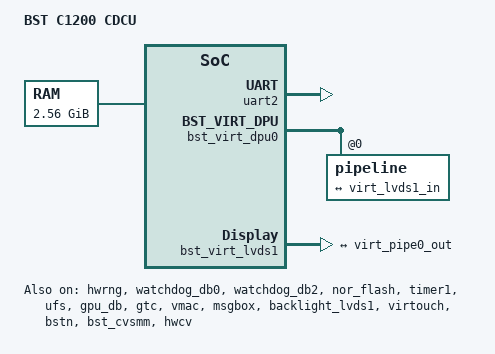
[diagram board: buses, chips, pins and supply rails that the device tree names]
// SPDX-License-Identifier: GPL-2.0+
/dts-v1/;
#include <generated/autoconf.h>
#include <dt-bindings/mailbox/bst_msgbox.h>
#include <dt-bindings/media/bst-isp.h>

#include "bstc1200.dtsi"
#include "bstc1200-db-cluster.dtsi"

/ {
	compatible = "bst,c1200";
	model = "BST C1200 CDCU";

	chosen {
		bootargs = "earlycon=uart8250,mmio32,0x20027000 console=ttyS0,115200n8 rdinit=/sbin/init root=/dev/ram rw init=/linuxrc rodata=n";
		stdout-path = "uart0";
	};

// OS 1GB
	memory@880000000 {
		device_type = "memory";
		reg = <0x8 0x03400000 0x0 0x01000000
			   0x8 0x0e000000 0x0 0x1000000
			   0x8 0x21000000 0x0 0x16000000
			   0x8 0x37000000 0x0 0x49000000
			   0x8 0x80000000 0x0 0x40000000
			   0xc 0x50000000 0x0 0x03000000
			   0x8 0x06480000 0x0 0x00080000
		>;
	};

	reserved-memory {
		#address-cells = <2>;
		#size-cells = <2>;
		ranges;

		bst_ufs_reserved: bst_ufs@800000000 {
			compatible = "shared-dma-pool";
			reg = <0x8 0x0 0x0 0x20000>;
			no-map;
		};

		bst_nor_flash_code_reserved: bst_nor_flash@800120000 {
			compatible = "shared-dma-pool";
			reg = <0x8 0x120000 0x0 0x10000>;
			no-map;
		};
		
			
		bst_ipc_reserved: bst_ipc@800300000 {
			compatible = "shared-dma-pool";
			reg = <0x8 0x300000 0x0 0x400000>;
			no-map;
		};


		scmi_buf_reserved: scmi_buf@800150000 {
			compatible = "shared-dma-pool";
			reg = <0x8 0x150000 0x0 0x1000>;
			no-map;
		};

		bst_datashare_reserved: bst_datashare@804400000 {
			compatible = "shared-dma-pool";
			reg = <0x8 0x4400000 0x0 0x500000>;
			no-map;
		};

		bst_touchscreen_reserved: bst_touchscreen@806710000 {
			compatible = "shared-dma-pool";
			reg = <0x8 0x06710000 0x0 0x40000>; //256k
			no-map;
		};

		bst_vmac_reserved: bst_vmac_des@806b10000 {
			compatible = "shared-dma-pool";
			reg = <0x8 0x0d500000 0x0 0xA00000>;
			no-map;
		};

		/* Reserved for exchange message between driver and firmware */
		isp_fw_msg_rsv: bst_isp_msg@821000000 {
			reg = <0x8 0x21000000 0x0 0x1000000>;
			/* Reserved IOVA for fixed map */
			iommu-addresses = <&isp 0x0 0x3E000000 0x0 0x42000000>;
			no-map;
		};

		/* Reserved exclusively for firmware */
		isp_fw_buf_rsv: bst_isp_buf@822000000 {
			reg = <0x8 0x22000000 0x0 0x15000000>;
			no-map;
		};

		bst_minidump_reserved: bst_minidump@8b5000000 {
			compatible = "bst,minidump";
			reg = <0x8 0xb5000000 0x0 0xA00000>;
			no-map;
		};

		bst_mrdump_cb_reserved: bst_mrdump@8b5a00000 {
			compatible = "bst,mrdump_cb";
			reg = <0x8 0xb5a00000 0x0 0x200000>;
			no-map;
		};

		/*reserved for global secure dmabuf */
		global_dmabuf_secure_reserved: global_secure_dmabuf@850000000 {
			compatible = "shared-dma-pool";
			reg = <0x8 0x50000000 0x0 0x03000000
                   0xc 0x50000000 0x0 0x03000000
			>;
			no-map;
		};
		/*reserved for global normal dmabuf */
		global_dmabuf_normal_reserved: global_normal_dmabuf@837000000 {
			compatible = "shared-dma-pool";
			reg = <0x8 0x53000000 0x0 0x2d000000
				   0x8 0x37000000 0x0 0x19000000
				  >;
		};
		/*reserved for global hifi dmabuf */
		global_dmabuf_hifi_reserved: global_hifi_dmabuf@806480000 {
			compatible = "shared-dma-pool";
			reg = <0x8 0x06480000 0x0 0x00080000>;
			no-map;
		};

		bst_optee_reserved: bst_optee@803400000 {
			compatible = "shared-dma-pool";
			reg = <0x8 0x3400000 0x0 0x1000000>;
			no-map;
		};
		bst_usb_virt_reserved: usb_virt@80e000000 {
			reg = <0x8 0x0e000000 0x0 0x1000000>;
			no-map;
		};
		bst_dpu_buf_reserved: bst_dpu_buf@806921000 {
			compatible = "shared-dma-pool";
			reg = <0x8 0x06921000 0x0 0x1000>;
			no-map;
		};

		bst_hwrng_buf_reserved: bst_hwrng_buf@806d32000 {
			compatible = "shared-dma-pool";
			reg = <0x8 0x06d32000 0x0 0x1000>;
		};
	};

	firmware {
		optee {
			compatible = "linaro,optee-tz";
			method = "smc";
			chip-number = <2>;
		};
	};

	tee {
		#address-cells = <0x2>;
		#size-cells = <0x2>;
		reg = <0x0 0x18060000 0x0 0x1f000>;
		memory-region = <&bst_optee_reserved>;
		mbox-names = "bst-mbox";
		chip-number = <2>;
	};
};


&firmware_scmi {
	status = "okay";
	shmem = <&scmi_buf_reserved>;
	reg = <0x0 0x20011028 0 0x14>;
	
	
	 scmi_pinctrl: protocol@19 {
                        reg = <0x19>;
                        #pinctrl-cells = <0>;
			
			gpio_pinctrl:gpio_pinctrl {
        			mux {
            				pins = "WK_GPIO13";
            				function = "gpio";
        			};
    			};
			hpd_pinctrl:hpd_pinctrl {
				mux {
					pins = "EDP_HPD";
					function = "edp";
				};
			};
			lvds0_pinconfig:lvds0_pinconfig {
				config {
					pins = "LVDS0_ODD_TX0", "LVDS0_ODD_TX1", "LVDS0_ODD_TX2", "LVDS0_ODD_TX3", "LVDS0_ODD_CLKN";
					input-enable;
				};
			};
			lvds1_pinconfig:lvds1_pinconfig {
				config {
					pins = "LVDS0_EVEN_TX0", "LVDS0_EVEN_TX1", "LVDS0_EVEN_TX2", "LVDS0_EVEN_TX3", "LVDS0_EVEN_CLKN";
					input-enable;
				};
			};
			isp_pinctrl: isp_pinctrl {
				mux {
					/* ISP FSYNC 0, 1, 2, 5, 6, 7 */
					pins = "ISP_FSYNC0", "ISP_FSYNC1", "ISP_FSYNC2", "WK_GPIO33", "WK_GPIO34","WK_GPIO35";
					function = "isp";
				};
			};
			deser_pinctrl: deser_pinctrl {
				deser_pdb_pins {
					/* Deser 0 PDB, Deser 1 PDB, Deser 2 PDB */
					pins = "WK_GPIO15", "WK_GPIO20", "WK_GPIO21";
					function = "gpio";
				};
				deser_status_pins {
					/* Deser 0 LOCK, ERR, Deser 1 LOCK, ERR, Deser 2 LOCK, ERR */
					pins = "SC_SDMMC0_WP", "SC_SDMMC1_STROBE", "SC_SDMMC1_CLK", "SC_SDMMC1_CMD", "SC_SDMMC1_DAT0", "SC_SDMMC1_DAT1";
					function = "gpio";
					bias-pull-up;
					input-enable;
				};
			};
        };
};

&hwrng {
	status = "okay";
	memory-region = <&bst_hwrng_buf_reserved>;
	msgbx-pid = <0x20>;
};

&i2c0 {
	status = "disable";
};
&i2c1 {
	status = "disable";
};
&i2c2 {
	status = "disable";
};
&i2c3 {
	status = "disable";
};
&i2c4 {
	status = "disable";
};
&i2c5 {
	status = "disable";
};
&i2c6 {
	status = "disable";
};
&i2c7 {
	status = "disable";
};

&i2cq0 {
	uid = <2>;
	interrupts = <GIC_SPI 90 IRQ_TYPE_LEVEL_HIGH>;
	ipc-sem = <2 0 12>;	// Master 2, bank 0, sem 12
	role = <ROLE_SLAVE>;
};
&i2cq1 {
	uid = <2>;
	interrupts = <GIC_SPI 91 IRQ_TYPE_LEVEL_HIGH>;
	ipc-sem = <2 0 12>;	// Master 2, bank 0, sem 12
	role = <ROLE_SLAVE>;
};
&i2cq2 {
	uid = <2>;
	interrupts = <GIC_SPI 92 IRQ_TYPE_LEVEL_HIGH>;
	ipc-sem = <2 0 12>;	// Master 2, bank 0, sem 12
	role = <ROLE_SLAVE>;
};
&csi0 {
	uid = <2>;
	interrupts = <GIC_SPI 93 (IRQ_TYPE_LEVEL_HIGH)>,
		     <GIC_SPI 94 (IRQ_TYPE_LEVEL_HIGH)>;
	ipc-sem = <2 0 13>;	// Master 2, bank 0, sem 13
};
&csi1 {
	uid = <2>;
	interrupts = <GIC_SPI 95 (IRQ_TYPE_LEVEL_HIGH)>,
		     <GIC_SPI 96 (IRQ_TYPE_LEVEL_HIGH)>;
	ipc-sem = <2 0 13>;	// Master 2, bank 0, sem 13
};
&csi2 {
	uid = <2>;
	interrupts = <GIC_SPI 97 (IRQ_TYPE_LEVEL_HIGH)>,
		     <GIC_SPI 98 (IRQ_TYPE_LEVEL_HIGH)>;
	ipc-sem = <2 0 13>;	// Master 2, bank 0, sem 13
};
&isp_bus {
	dma-ranges = <0x0 0x00400000 0x8 0x8B000000 0x0 0x3DC00000>,
		     <0x0 0x3E000000 0x0 0x3E000000 0x0 0x02000000>,	// Reserved to restrict IOVA area
		     <0x0 0x40000000 0x0 0x20000000 0x0 0x07000000>,	// Outer registers area
		     <0x0 0x47000000 0x0 0x30000000 0x0 0x01000000>,	// Outer registers area
		     <0x0 0x50000000 0x0 0x50000000 0x0 0x10000000>,	// ISPCV inner registers
		     <0x0 0x60000000 0x8 0x00200000 0x0 0x00600000>,	// IPC area, see bst_ipc_reserved, 2MB aligned
		     <0x0 0x60600000 0x8 0x21000000 0x0 0x16000000>;	// For isp_fw_msg_rsv, isp_fw_buf_rsv
};
&isp {
	uid = <2>;
	msgbox-cpu = <CPUMP2_1 1 2>;
	ipc-cpu = <4>;		// DB0
	ipc-sem = <2 0 14>;	// Master 2, bank 0, sem 14
	role = <ROLE_SLAVE>;
};

&uart0 {
	status = "disable";
};
&uart1 {
	status = "disable";
};
&uart2 {
	status = "okay";
	dmas = <&gdma0 23>,<&gdma0 22>;
	dma-names = "tx", "rx";
	interrupts = <GIC_SPI 80 IRQ_TYPE_LEVEL_HIGH>;
};
&uart3 {
	status = "disable";
};

&spi0 {
	status = "disable";
};
&spi1 {
	status = "disable";
};
&spi2 {
	status = "disable";
};
&spi3 {
	status = "disable";
};

&i2s0 {
	status = "disable";
};
&i2s1 {
	status = "disable";
};
&i2s2 {
	status = "disable";
};
&i2s3 {
	status = "disable";
};

&tdm0 {
	status = "disable";
};
&tdm1 {
	status = "disable";
};
&tdm2 {
	status = "disable";
};
&tdm3 {
	status = "disable";
};

&watchdog0 {
	status = "disable";
};
&watchdog1 {
	status = "disable";
};
&watchdog2 {
	status = "disable";
};
&watchdog3 {
	status = "disable";
};
&watchdog_soc0 {
	status = "disable";
};
&watchdog_soc1 {
	status = "disable";
};
&watchdog_soc2 {
	status = "disable";
};
&watchdog_soc3 {
	status = "disable";
};

&watchdog_soc4 {
	status = "disable";
};
&watchdog_soc5 {
	status = "disable";
};
&watchdog_soc6 {
	status = "disable";
};
&watchdog_soc7 {
	status = "disable";
};
&watchdog_db0 {
	status = "okay";
};
&watchdog_db1 {
	status = "disable";
};
&watchdog_db2 {
	status = "okay";
};
&watchdog_db3 {
	status = "disable";
};

&lsp0_pwm0 {
	status = "disable";
};
&lsp1_pwm0 {
	status = "disable";
};

&gpio0 {
	status = "okay";
	pinctrl-names = "default";
	pinctrl-0 = <&gpio_pinctrl &isp_pinctrl &deser_pinctrl>;
};
&porta {
	interrupts = <GIC_SPI 88 (IRQ_TYPE_LEVEL_HIGH)>;
};
&gpio1 {
	status = "okay";
};
&portb {
	interrupts = <GIC_SPI 88 (IRQ_TYPE_LEVEL_HIGH)>;
};
&gpio2 {
	status = "okay";
};
&portc {
	interrupts = <GIC_SPI 88 (IRQ_TYPE_LEVEL_HIGH)>;
};
&gpio3 {
	status = "okay";
};
&portd {
	interrupts = <GIC_SPI 88 (IRQ_TYPE_LEVEL_HIGH)>;
};
&gpio4 {
	status = "okay";
};
&porte {
	interrupts = <GIC_SPI 88 (IRQ_TYPE_LEVEL_HIGH)>;
};
&gpio5 {
	status = "okay";
	/*also need to set intterupt table in sbl-dtb
	* and change the gpio5 interrupt from 250 to the number 
	* according to the db interrupts which are routed from soc
	*/
};
&portf {
	interrupts = <GIC_SPI 88 (IRQ_TYPE_LEVEL_HIGH)>;
};
&gpio6 {
	status = "okay";
};
&portg {
	interrupts = <GIC_SPI 88 (IRQ_TYPE_LEVEL_HIGH)>;
};
&gpio7 {
	status = "disable";
};
&porth {
	interrupts = <GIC_SPI 88 (IRQ_TYPE_LEVEL_HIGH)>;
};
&gpiokeys {
	status = "disable"; //for STR SW3 WAKEUP
};

&gdma0 {
	status = "okay";
	dma-channels = <2>;
	snps,chan-start = <30>;
	snps,block-size = <1048576 1048576>;

	snps,priority = <17 16>;

	interrupts =  < GIC_SPI 99 (GIC_CPU_MASK_SIMPLE(8) | IRQ_TYPE_LEVEL_HIGH)
					GIC_SPI 100 (GIC_CPU_MASK_SIMPLE(8) | IRQ_TYPE_LEVEL_HIGH)>;

};

&swdma0 {
	status = "disable";
};

&usbdwc3 {
	interrupts = <0x0 85 0x4>;
};
&usbdwc2 {
	interrupts = <0x0 86 0x4>;
};
&bst_usb_msg{
	msgbox-pid = "CPUMP2_0";
};
&usbdrd_dwc3 {
	status = "disable";
};
&dwc3 {
	status = "disable";
};

&nor_flash {
	memory-region = <&bst_nor_flash_code_reserved>;
	status = "okay";
};

&timer0 {
	status = "disable";
};

&timer1 {
    interrupts = <GIC_SPI 88 IRQ_TYPE_LEVEL_HIGH>; 
	timer-chan = <0x4>;
    status = "okay";	                   
};

&mmc0 {
	status = "disable";
};
&mmc1 {
	status = "disable";
};

&mmu600_codec {
	status = "disable";
};
&mmu600_soc {
	status = "disable";
};
#if defined(CONFIG_VIDEO_BST_ISP_MULTI_OS)
&mmu600_coreip {
	status = "okay";
};
#endif

&ufs {
	interrupts = <GIC_SPI 81 IRQ_TYPE_LEVEL_HIGH
				  GIC_SPI 88 IRQ_TYPE_LEVEL_HIGH>; 
	ufs-timer = <0x4>;
	status = "okay";
};

&codec0 {
	status = "disable";
};
&codec1 {
	status = "disable";
};

&mipi_dsi0 {
	status = "disable";
};
&mipi_dsi1 {
	status = "disable";
};
&mipi_csr {
	status = "disable";
};

&bst_dptx {
	status = "disable";
	pinctrl-names = "default";
	pinctrl-0 = <&hpd_pinctrl>;
};

&xrp0 {
	status = "disable";
};

&bst_dpu0 {
	status = "disable";
};
&bst_dpu2 {
	status = "disable";
};
&bst_dpu1 {
	status = "disable";
};

&lvds_conn {
	status = "disable";
	pinctrl-names = "default";
	pinctrl-0 = <&lvds0_pinconfig &lvds1_pinconfig>;
};

&gpu_ivi {
	status = "disable";
};

&gpu_adas {
	status = "disable";
};

&gpu_db {
	status = "okay";
};

&pinctrl {
	status = "disable";
};

&clkc {
	status = "okay";
};

&gtc {
	status = "okay";
};

&xgmac0 {
	status = "disable";
};

&vmac {
	status = "okay";
	interrupt-parent = <&gic600>;
	interrupts = <GIC_SPI 64 IRQ_TYPE_LEVEL_HIGH>,
			   <GIC_SPI 65 IRQ_TYPE_LEVEL_HIGH>,
			   <GIC_SPI 66 IRQ_TYPE_LEVEL_HIGH>,
			   <GIC_SPI 67 IRQ_TYPE_LEVEL_HIGH>,
			   <GIC_SPI 68 IRQ_TYPE_LEVEL_HIGH>,
			   <GIC_SPI 69 IRQ_TYPE_LEVEL_HIGH>,
			   <GIC_SPI 70 IRQ_TYPE_LEVEL_HIGH>,
			   <GIC_SPI 71 IRQ_TYPE_LEVEL_HIGH>;
	interrupt-names = "vmac_irq0", "vmac_irq1", "vmac_irq2", "vmac_irq3",
		"vmac_irq4", "vmac_irq5", "vmac_irq6", "vmac_irq7";
	//mac-address = [52AECD28C140];
	channel-bit = <0x00000000 0x00000100>;
	max-frame-size = <3800>;
	tx-queues-to-use = <1>;
	rx-queues-to-use = <1>;
	memory-region = <&bst_vmac_reserved>;
};

&gic600 {
	status = "okay";
	reg = <0x0 0x33200000 0 0x10000>,	// GICD
			<0x0 0x33240000 0 0x40000>;	// GICR
};

&ipc {
	status = "okay";
	memory-region = <&bst_ipc_reserved>;
};

&mbox {
	status = "okay";
	ipc-cpus = <4>;
	memory-region = <&bst_ipc_reserved>;
};



&msgbox {
	status = "okay";
	reg =   <0x0 0x33300000 0 0x100000>; //db
	spi-irq-num = <0>;
	filter-num = <2>;
	interrupts =    <
	GIC_PPI 4 (GIC_CPU_MASK_SIMPLE(8) | IRQ_TYPE_LEVEL_LOW)
	GIC_PPI 15 (GIC_CPU_MASK_SIMPLE(8) | IRQ_TYPE_LEVEL_LOW)
	>;
	#mbox-cells = <0x1>;
};

&arm_pmu {
	status = "disable";
};

&bst_disp_fw_msgbx {
	status = "disable";
	msgbx-pid = "CPUMP2_0"; /* "CPUMP2_0" "CPUMP2_1" */
};

&bst_disp_fw_ipc {
	status = "okay";
	memory-region = <&bst_dpu_buf_reserved>;
	ipc-pid = "DB0";
};

&bst_virt_dpu0 {
	status = "okay";
	os-type = "DB"; /* "ADAS", "DB" */
	pipeline@0 {
		status = "okay";
		layer-num = <1>;
		port@0 {
			virt_pipe0_out: endpoint@0 {
				remote-endpoint = <&virt_lvds1_in>;
			};
		};
	};
};

&bst_virt_lvds1 {
	status = "okay";
	backlight = <&backlight_lvds1>;
	ports {
		port@0 {
			virt_lvds1_in: endpoint@0 {
				remote-endpoint = <&virt_pipe0_out>;
			};
		};
	};
};

&backlight_lvds1 {
	client-id = <0x44422020>;
	status = "okay";
};

&virtouch {
	status = "okay";
	memory-region = <&bst_touchscreen_reserved>;
	/*
	 * client-id:
	 * 0x41444153: "ADAS"
	 * 0x49564920: "IVI "
	 * 0x44422020: "DB  "
	 */
	client-id = <0x44422020>;
	/*
	 * screens-id:
	 * 0x9: screen_lvds0  adas
	 * 0xa: screen_lvds1  adas/ivi/db
	 * 0x7: screen_dsi0  ivi
	 * 0x8: screen_dsi1  ivi
	 * 0x6: screen_edp   adas/ivi
	 */
	screens-id = <0xa>;
};

&mmu600_coreip {
	status = "okay";
};

&bstn_bus {
       /*           cpu va          net va         size          */
       dma-ranges = <0x0 0x00100000 0x0 0x00100000 0x0 0x3FF00000>; /* db msg */
};

&bstn {
       status = "okay";
       iommus = <&mmu600_coreip 1>,<&mmu600_coreip 4>;
       msgbox-endid = <0x21>;
       //dma-coherent;
};

&cv_bus {
	dma-ranges = <0x0 0x00100000 0x8 0x8b000000 0x0 0x3ff00000>;
};

&bst_cvsmm {
	status = "okay";
	iommus = <&mmu600_coreip 2>;
};

&hwcv {
	status = "okay";
	use-cvsmm;
	ipc-sem = <2 0 8>; //<master_id bank_id msg_id>
};
